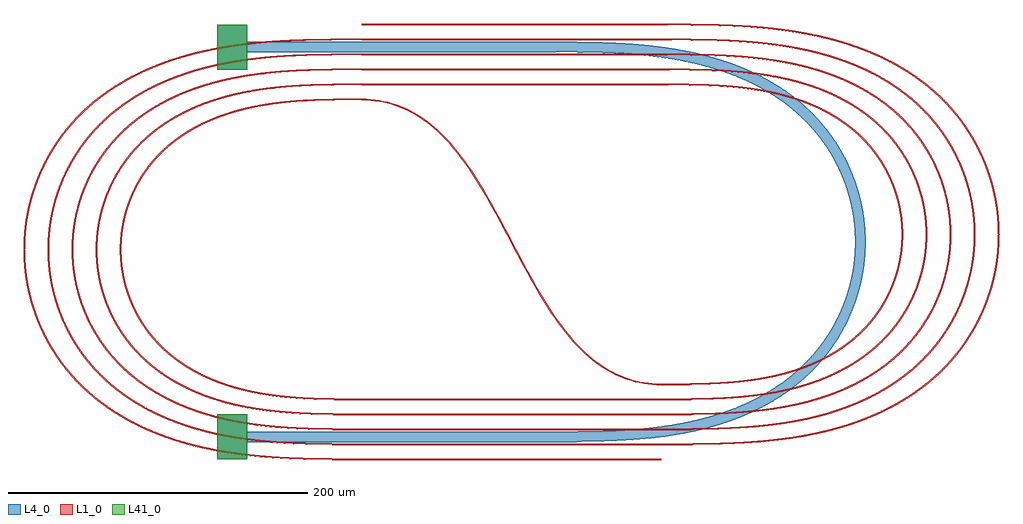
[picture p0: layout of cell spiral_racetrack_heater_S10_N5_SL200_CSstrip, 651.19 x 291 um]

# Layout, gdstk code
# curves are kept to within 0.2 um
from math import pi, radians
import gdstk
lib = gdstk.Library(unit=1e-6, precision=1e-09)
def R(c, l, rs):  # rectangles x0, y0, x1, y1
    for r in rs: c.add(gdstk.rectangle(r[:2], r[2:], *l))
def P(c, l, *ps):  # polygons
    for p in ps: c.add(gdstk.Polygon(p, *l))
L1_0 = (1, 0)
L4_0 = (4, 0)
L41_0 = (41, 0)

bend_s_s200_m190_csstrip = lib.new_cell('bend_s_S200_m190_CSstrip_WNone_AMRVFalse')
P(bend_s_s200_m190_csstrip, L1_0, [(200,-190.5),(193.961,-190.264),(191.032,-189.973),(185.348,-189.057),(179.89,-187.711),(177.242,-186.882),(172.103,-184.929),(167.166,-182.595),(160.116,-178.425),(153.464,-173.513),(147.175,-167.926),(141.213,-161.729),(135.544,-154.991),(130.132,-147.776),(123.254,-137.528),(118.305,-129.456),(111.917,-118.301),(90.331,-77.877),(80.836,-61.055),(75.902,-53.008),(70.798,-45.292),(65.492,-37.971),(59.948,-31.111),(56.105,-26.826),(52.131,-22.794),(45.905,-17.263),(39.33,-12.408),(32.373,-8.292),(27.505,-5.991),(24.998,-4.98),(19.831,-3.25),(14.452,-1.923),(8.849,-1.02),(3.011,-0.559),(0,-0.5),(0,0.5),(6.039,0.264),(8.968,-0.027),(14.652,-0.943),(20.11,-2.289),(22.758,-3.118),(27.897,-5.071),(32.834,-7.405),(39.884,-11.575),(46.536,-16.487),(52.825,-22.074),(58.787,-28.271),(64.456,-35.009),(69.868,-42.224),(76.746,-52.472),(81.695,-60.544),(88.083,-71.699),(109.669,-112.123),(119.164,-128.945),(124.098,-136.992),(129.202,-144.708),(134.508,-152.029),(140.052,-158.889),(143.895,-163.174),(147.869,-167.206),(154.095,-172.737),(160.67,-177.592),(167.627,-181.708),(172.495,-184.009),(175.002,-185.02),(180.169,-186.75),(185.548,-188.077),(191.151,-188.98),(196.989,-189.441),(200,-189.5)])

bend_euler_r100_a180_p0p = lib.new_cell('bend_euler_R100_A180_P0p5_WNone_CSstrip_AMRVFalse')
P(bend_euler_r100_a180_p0p, L1_0, [(0,-0.5),(0,0.5),(25.546,0.714),(35.306,1.066),(45.049,1.678),(57.99,3.02),(70.151,4.983),(76.342,6.299),(82.971,7.982),(89.03,9.798),(95.162,11.939),(100.711,14.171),(106.299,16.738),(111.447,19.425),(116.449,22.372),(121.561,25.782),(126.058,29.173),(130.604,33.045),(134.892,37.199),(138.787,41.497),(142.296,45.898),(145.524,50.509),(148.459,55.312),(151.089,60.289),(153.598,65.893),(155.614,71.331),(157.32,77.052),(158.612,82.706),(159.56,88.6),(160.107,94.374),(160.282,99.829),(160.107,105.626),(159.56,111.4),(158.612,117.294),(157.32,122.948),(155.614,128.669),(153.598,134.107),(151.238,139.404),(148.627,144.391),(145.524,149.491),(142.296,154.102),(138.787,158.503),(134.892,162.801),(130.604,166.955),(126.058,170.827),(121.561,174.218),(116.449,177.628),(111.447,180.575),(106.299,183.262),(100.711,185.829),(95.162,188.061),(89.03,190.202),(82.971,192.018),(76.342,193.701),(70.151,195.017),(57.99,196.98),(45.049,198.322),(35.306,198.934),(25.546,199.286),(0,199.5),(0,200.5),(23.855,200.326),(33.467,200.019),(41.872,199.557),(50.264,198.867),(57.779,198.016),(65.264,196.912),(72.029,195.663),(79.244,194.032),(85.885,192.223),(92.276,190.168),(98.243,187.937),(104.564,185.2),(110.115,182.436),(115.511,179.378),(120.727,176.02),(124.642,173.197),(128.02,170.52),(131.531,167.463),(134.888,164.236),(138.076,160.842),(140.98,157.424),(143.61,154.008),(146.076,150.471),(148.549,146.525),(150.737,142.611),(152.73,138.594),(154.459,134.644),(156.057,130.454),(157.448,126.191),(158.75,121.362),(159.659,117.147),(160.416,112.552),(160.923,108.096),(161.217,103.449),(161.278,99.138),(161.126,94.656),(160.735,90.016),(160.163,85.742),(159.319,81.162),(158.287,76.798),(157.094,72.655),(155.647,68.411),(153.994,64.242),(152.063,60.005),(150.001,56.022),(147.747,52.146),(145.305,48.385),(140.434,41.907),(134.888,35.764),(128.944,30.256),(122.281,25.067),(115.216,20.444),(107.819,16.377),(99.518,12.583),(90.973,9.386),(82.242,6.746),(73.04,4.546),(63.566,2.813),(52.999,1.415),(42.557,0.49),(30.721,-0.128),(18.19,-0.423)])

straight_l200_csstrip_wn = lib.new_cell('straight_L200_CSstrip_WNone_N2')
R(straight_l200_csstrip_wn, L1_0, [(0,-0.5,200,0.5)])

bend_euler_r110_a180_p0p = lib.new_cell('bend_euler_R110_A180_P0p5_WNone_CSstrip_AMRVFalse')
P(bend_euler_r110_a180_p0p, L1_0, [(0,-0.5),(0,0.5),(28.437,0.744),(39.557,1.158),(49.293,1.775),(63.418,3.223),(70.695,4.281),(77.093,5.416),(83.949,6.871),(91.237,8.72),(97.948,10.73),(104.881,13.156),(111.056,15.652),(117.103,18.442),(122.55,21.287),(128.138,24.578),(133.536,28.171),(138.716,32.068),(143.777,36.384),(148.193,40.653),(152.344,45.193),(156.413,50.254),(160.142,55.569),(163.433,60.968),(166.374,66.565),(168.953,72.338),(171.269,78.587),(173.074,84.646),(174.491,90.808),(175.491,96.878),(176.137,103.339),(176.36,109.658),(176.17,116.149),(175.579,122.444),(174.524,129.024),(173.161,135.023),(171.269,141.413),(169.146,147.187),(166.67,152.819),(163.601,158.734),(160.422,164.001),(156.72,169.335),(152.788,174.287),(148.431,179.101),(144.029,183.386),(139.248,187.504),(133.814,191.632),(128.283,195.331),(122.55,198.713),(117.103,201.558),(111.056,204.348),(104.881,206.844),(97.948,209.27),(91.237,211.28),(83.949,213.129),(77.093,214.584),(70.695,215.719),(63.418,216.777),(49.293,218.225),(39.557,218.842),(28.437,219.256),(0,219.5),(0,220.5),(26.405,220.305),(36.693,219.976),(45.604,219.493),(54.673,218.763),(62.865,217.856),(71.194,216.651),(78.8,215.266),(86.682,213.504),(94.149,211.489),(101.354,209.184),(107.959,206.72),(114.906,203.718),(120.916,200.735),(126.761,197.439),(132.274,193.92),(136.066,191.233),(140.278,187.955),(144.195,184.587),(147.696,181.271),(151.274,177.529),(154.436,173.874),(157.419,170.071),(160.408,165.842),(163.175,161.465),(165.469,157.408),(167.573,153.249),(169.615,148.679),(171.485,143.85),(173.004,139.262),(174.3,134.606),(175.439,129.554),(176.265,124.792),(176.879,119.824),(177.244,114.832),(177.36,109.655),(177.227,104.823),(176.862,100.004),(176.214,94.866),(175.371,90.107),(174.3,85.394),(173.004,80.738),(171.485,76.15),(169.615,71.321),(167.573,66.751),(165.141,61.984),(162.729,57.796),(160.119,53.728),(157.419,49.929),(154.655,46.393),(148.789,39.832),(142.257,33.705),(134.954,27.955),(127.35,22.917),(118.776,18.159),(109.87,14.062),(100.378,10.482),(90.841,7.574),(80.819,5.152),(70.177,3.185),(58.602,1.64),(46.632,0.577),(33.95,-0.085),(19.716,-0.419)])

bend_euler_r120_a180_p0p = lib.new_cell('bend_euler_R120_A180_P0p5_WNone_CSstrip_AMRVFalse')
P(bend_euler_r120_a180_p0p, L1_0, [(0,-0.5),(0,0.5),(30.502,0.753),(42.483,1.185),(52.567,1.799),(60.753,2.508),(68.745,3.414),(76.874,4.584),(84.285,5.898),(92.478,7.659),(99.93,9.576),(107.131,11.748),(114.389,14.293),(120.887,16.911),(127.717,20.052),(133.773,23.216),(139.805,26.77),(146.052,30.943),(151.498,35.062),(156.82,39.605),(161.848,44.472),(166.667,49.786),(170.818,54.995),(174.736,60.592),(178.378,66.573),(181.627,72.777),(184.533,79.335),(186.892,85.747),(188.843,92.295),(190.411,99.119),(191.514,105.862),(192.19,112.66),(192.438,119.658),(192.234,126.658),(191.558,133.8),(190.444,140.713),(188.972,147.21),(186.999,153.929),(184.533,160.665),(181.775,166.915),(178.546,173.129),(175.108,178.835),(171.124,184.594),(166.667,190.214),(161.967,195.405),(157.072,200.165),(151.764,204.724),(146.052,209.057),(139.95,213.139),(133.773,216.784),(127.717,219.948),(120.887,223.089),(114.389,225.707),(107.131,228.252),(99.93,230.424),(92.478,232.341),(84.285,234.102),(76.874,235.416),(68.745,236.586),(60.753,237.492),(52.567,238.201),(42.483,238.815),(30.502,239.247),(0,239.5),(0,240.5),(28.812,240.287),(39.96,239.931),(50.072,239.38),(59.655,238.604),(68.872,237.578),(77.541,236.321),(86.33,234.715),(94.879,232.788),(102.677,230.677),(110.537,228.163),(118.106,225.33),(125.52,222.109),(132.292,218.728),(138.871,214.981),(144.94,211.056),(149.682,207.626),(153.723,204.411),(157.874,200.787),(161.843,196.963),(165.619,192.942),(169.079,188.87),(172.235,184.772),(175.384,180.243),(178.213,175.71),(180.818,171.044),(183.265,166.1),(185.46,161.039),(187.284,156.2),(189.024,150.784),(190.4,145.621),(191.523,140.396),(192.413,134.952),(192.998,129.814),(193.354,124.309),(193.434,118.966),(193.243,113.453),(192.812,108.299),(192.111,103.001),(191.083,97.406),(189.81,92.039),(188.32,86.907),(186.521,81.692),(184.599,76.891),(182.301,71.877),(179.837,67.135),(177.144,62.519),(174.23,58.04),(171.516,54.258),(168.425,50.329),(165.158,46.545),(161.843,43.037),(158.254,39.563),(154.646,36.365),(150.909,33.32),(146.912,30.329),(142.798,27.503),(138.429,24.752),(129.39,19.768),(124.427,17.386),(119.221,15.125),(109.073,11.337),(98.375,8.114),(87.508,5.528),(75.845,3.409),(63.755,1.816),(50.586,0.655),(36.873,-0.053),(21.951,-0.406)])

bend_euler_r130_a180_p0p = lib.new_cell('bend_euler_R130_A180_P0p5_WNone_CSstrip_AMRVFalse')
P(bend_euler_r130_a180_p0p, L1_0, [(0,-0.5),(0,0.5),(19.03,0.552),(32.91,0.771),(45.922,1.237),(56.864,1.901),(66.246,2.718),(74.751,3.692),(83.559,4.969),(91.309,6.347),(100.009,8.213),(107.963,10.249),(115.826,12.608),(123.736,15.37),(130.875,18.238),(138.024,21.512),(144.846,25.061),(151.472,28.962),(158.011,33.32),(164.013,37.843),(169.989,42.941),(175.503,48.291),(180.546,53.859),(185.019,59.463),(189.33,65.615),(193.323,72.178),(196.731,78.681),(199.791,85.541),(202.461,92.745),(204.655,100.108),(206.364,107.598),(207.58,115.184),(208.277,122.492),(208.517,130),(208.277,137.508),(207.58,144.816),(206.364,152.402),(204.655,159.892),(202.461,167.255),(199.791,174.459),(196.731,181.319),(193.323,187.822),(189.33,194.385),(185.019,200.537),(180.546,206.141),(175.503,211.709),(169.989,217.059),(164.013,222.157),(158.011,226.68),(151.472,231.038),(144.846,234.939),(138.024,238.488),(130.875,241.762),(123.736,244.63),(115.826,247.392),(107.963,249.751),(100.009,251.787),(91.309,253.653),(83.559,255.031),(74.751,256.308),(66.246,257.282),(56.864,258.099),(45.922,258.763),(32.91,259.229),(19.03,259.448),(0,259.5),(0,260.5),(31.219,260.269),(43.398,259.879),(54.369,259.278),(65.663,258.345),(75.56,257.211),(85.075,255.795),(93.691,254.198),(102.577,252.196),(111.371,249.816),(119.883,247.086),(127.934,244.068),(135.667,240.718),(143.061,237.044),(149.802,233.235),(156.754,228.775),(161.784,225.157),(166.373,221.524),(170.662,217.799),(175.017,213.633),(179.041,209.381),(182.959,204.802),(186.333,200.446),(189.788,195.508),(192.899,190.549),(195.763,185.442),(198.516,179.888),(200.846,174.518),(202.909,169.038),(204.65,163.629),(206.211,157.809),(207.443,152.085),(208.414,146.137),(209.052,140.491),(209.419,134.82),(209.509,128.622),(209.307,122.944),(208.833,117.281),(208.062,111.478),(206.97,105.551),(205.666,100.02),(204.047,94.394),(202.212,89.016),(199.919,83.257),(197.48,77.935),(194.864,72.89),(191.92,67.83),(188.632,62.78),(185.405,58.313),(182.304,54.399),(178.81,50.363),(175.259,46.611),(171.423,42.9),(167.559,39.472),(163.558,36.207),(159.15,32.904),(154.61,29.787),(149.802,26.765),(145.029,24.02),(140.004,21.377),(134.573,18.779),(129.208,16.452),(124.088,14.434),(117.93,12.248),(106.074,8.7),(94.028,5.871),(82.022,3.713),(68.226,1.918),(54.882,0.757),(39.968,-0.015),(23.327,-0.404)])

bend_euler_r140_a180_p0p = lib.new_cell('bend_euler_R140_A180_P0p5_WNone_CSstrip_AMRVFalse')
P(bend_euler_r140_a180_p0p, L1_0, [(0,-0.5),(0,0.5),(19.875,0.551),(35.287,0.788),(49.148,1.279),(61.109,1.999),(70.828,2.837),(80.179,3.896),(88.986,5.152),(98.419,6.813),(107.782,8.824),(116.559,11.079),(124.744,13.54),(133.455,16.587),(141.221,19.719),(149.134,23.366),(156.248,27.089),(163.161,31.168),(170.264,35.906),(177.203,41.166),(183.288,46.395),(189.041,51.99),(194.547,58.075),(199.341,64.093),(203.854,70.532),(208.129,77.537),(211.941,84.804),(215.21,92.144),(217.953,99.514),(220.322,107.371),(222.177,115.365),(223.511,123.461),(224.318,131.628),(224.595,139.829),(224.351,147.86),(223.577,156.03),(222.276,164.132),(220.453,172.133),(218.116,179.999),(215.403,187.381),(212.163,194.734),(208.381,202.016),(204.228,208.895),(199.749,215.359),(194.547,221.925),(189.041,228.01),(183.288,233.605),(177.203,238.834),(170.264,244.094),(163.161,248.832),(156.248,252.911),(149.134,256.634),(141.221,260.281),(133.455,263.413),(124.744,266.46),(116.559,268.921),(107.782,271.176),(98.419,273.187),(88.986,274.848),(80.179,276.104),(70.828,277.163),(61.109,278.001),(49.148,278.721),(35.287,279.212),(19.875,279.449),(0,279.5),(0,280.5),(33.769,280.248),(46.625,279.836),(58.101,279.214),(69.56,278.291),(80.305,277.096),(90.498,275.618),(100.463,273.801),(110.182,271.626),(119.47,269.13),(128.474,266.27),(137.332,262.979),(145.385,259.524),(153.558,255.503),(161.052,251.295),(168.443,246.578),(173.761,242.781),(178.499,239.069),(183.453,234.806),(188.069,230.424),(192.585,225.683),(196.525,221.116),(200.348,216.23),(203.929,211.165),(207.348,205.784),(210.414,200.39),(213.288,194.699),(215.94,188.712),(218.224,182.759),(220.208,176.7),(221.846,170.717),(223.158,164.83),(224.216,158.717),(224.976,152.56),(225.436,146.374),(225.595,139.828),(225.436,133.626),(224.959,127.268),(224.165,120.942),(223.022,114.494),(221.636,108.448),(219.856,102.146),(217.755,95.944),(215.474,90.175),(212.766,84.213),(210.004,78.852),(206.902,73.479),(203.446,68.121),(199.935,63.218),(196.525,58.884),(192.816,54.573),(188.919,50.432),(184.847,46.473),(180.479,42.585),(175.947,38.891),(171.543,35.591),(166.442,32.084),(161.642,29.06),(156.433,26.048),(150.961,23.159),(145.073,20.333),(139.242,17.798),(133.326,15.47),(127.173,13.288),(114.839,9.571),(102.312,6.581),(88.463,4.058),(73.658,2.124),(59.471,0.879),(43.197,0.028),(25.711,-0.389)])

spiral_racetrack_gdsfact = lib.new_cell('spiral_racetrack_gdsfactorypcomponentspspiralspspiral_h_045816c0')
spiral_racetrack_gdsfact.add(gdstk.Reference(bend_s_s200_m190_csstrip, (0,0)))
spiral_racetrack_gdsfact.add(gdstk.Reference(bend_euler_r100_a180_p0p, (0,0), rotation=pi))
spiral_racetrack_gdsfact.add(gdstk.Reference(straight_l200_csstrip_wn, (0,-200)))
spiral_racetrack_gdsfact.add(gdstk.Reference(bend_euler_r110_a180_p0p, (200,-200)))
spiral_racetrack_gdsfact.add(gdstk.Reference(straight_l200_csstrip_wn, (200,20), rotation=pi))
spiral_racetrack_gdsfact.add(gdstk.Reference(bend_euler_r120_a180_p0p, (0,20), rotation=pi))
spiral_racetrack_gdsfact.add(gdstk.Reference(straight_l200_csstrip_wn, (0,-220)))
spiral_racetrack_gdsfact.add(gdstk.Reference(bend_euler_r130_a180_p0p, (200,-220)))
spiral_racetrack_gdsfact.add(gdstk.Reference(straight_l200_csstrip_wn, (200,40), rotation=pi))
spiral_racetrack_gdsfact.add(gdstk.Reference(bend_euler_r140_a180_p0p, (0,40), rotation=pi))
spiral_racetrack_gdsfact.add(gdstk.Reference(straight_l200_csstrip_wn, (0,-240)))
spiral_racetrack_gdsfact.add(gdstk.Reference(bend_euler_r100_a180_p0p, (200,-190)))
spiral_racetrack_gdsfact.add(gdstk.Reference(straight_l200_csstrip_wn, (200,10), rotation=pi))
spiral_racetrack_gdsfact.add(gdstk.Reference(bend_euler_r110_a180_p0p, (0,10), rotation=pi))
spiral_racetrack_gdsfact.add(gdstk.Reference(straight_l200_csstrip_wn, (0,-210)))
spiral_racetrack_gdsfact.add(gdstk.Reference(bend_euler_r120_a180_p0p, (200,-210)))
spiral_racetrack_gdsfact.add(gdstk.Reference(straight_l200_csstrip_wn, (200,30), rotation=pi))
spiral_racetrack_gdsfact.add(gdstk.Reference(bend_euler_r130_a180_p0p, (0,30), rotation=pi))
spiral_racetrack_gdsfact.add(gdstk.Reference(straight_l200_csstrip_wn, (0,-230)))
spiral_racetrack_gdsfact.add(gdstk.Reference(bend_euler_r140_a180_p0p, (200,-230)))
spiral_racetrack_gdsfact.add(gdstk.Reference(straight_l200_csstrip_wn, (200,50), rotation=pi))

straight_gdsfactorypcomp = lib.new_cell('straight_gdsfactorypcomponentspwaveguidespstraight_L200_9721b102')
R(straight_gdsfactorypcomp, L4_0, [(0,-3.5,200,3.5)])

c_bend_euler_r130_a180_p0p = lib.new_cell('bend_euler_R130_A180_P0p5_WNone_CSheater_metal_AMRVFalse')
P(c_bend_euler_r130_a180_p0p, L4_0, [(0,-3.5),(0,3.5),(33.859,3.796),(58.167,5.009),(69.319,6.061),(80.405,7.512),(90.737,9.292),(100.142,11.328),(114.582,15.359),(127.837,20.213),(139.999,25.866),(151.573,32.582),(157.765,36.84),(163.819,41.554),(169.194,46.289),(174.15,51.217),(179.009,56.692),(183.509,62.466),(187.452,68.235),(191.117,74.379),(194.463,80.89),(197.325,87.447),(199.876,94.485),(201.921,101.514),(203.45,108.333),(204.604,115.562),(205.283,122.683),(205.517,130),(205.283,137.317),(204.604,144.438),(203.45,151.667),(201.921,158.486),(199.876,165.515),(197.325,172.553),(194.463,179.11),(191.117,185.621),(187.452,191.765),(183.509,197.534),(179.009,203.308),(174.15,208.783),(169.194,213.711),(163.819,218.446),(157.765,223.16),(151.573,227.418),(139.999,234.134),(127.837,239.787),(114.582,244.641),(100.142,248.672),(90.737,250.708),(80.405,252.488),(69.319,253.939),(58.167,254.991),(33.859,256.204),(0,256.5),(0,263.5),(30.941,263.276),(54.053,262.306),(74.573,260.363),(93.268,257.344),(102.45,255.316),(111.55,252.89),(127.756,247.369),(135.656,244.024),(143.07,240.427),(150.29,236.435),(156.991,232.235),(166.787,225.06),(176.017,216.868),(184.164,208.056),(191.403,198.483),(197.663,188.244),(202.884,177.438),(207.014,166.169),(209.941,154.895),(211.853,142.689),(212.515,130.706),(211.976,118.54),(210.324,107.009),(207.527,95.52),(203.494,84.029),(198.415,73.156),(192.289,62.836),(185.731,53.856),(178.747,45.894),(170.971,38.455),(162.464,31.606),(152.997,25.2),(143.07,19.573),(132.129,14.424),(120.538,9.966),(108.864,6.348),(96.677,3.363),(83.512,0.91),(69.923,-0.915),(55.779,-2.188),(40.595,-2.994)])

compass_gdsfactorypcompo = lib.new_cell('compass_gdsfactorypcomponentspshapespcompass_S20_30_LHE_0a05a8ea')
R(compass_gdsfactorypcompo, L4_0, [(-10,-15,10,15)])

c_compass_gdsfactorypcompo = lib.new_cell('compass_gdsfactorypcomponentspshapespcompass_S20_30_LPA_c746d2ee')
R(c_compass_gdsfactorypcompo, L41_0, [(-10,-15,10,15)])

via_stack_heater_mtop_s2 = lib.new_cell('via_stack_heater_mtop_S20_30')
via_stack_heater_mtop_s2.add(gdstk.Reference(compass_gdsfactorypcompo, (0,0)))
via_stack_heater_mtop_s2.add(gdstk.Reference(c_compass_gdsfactorypcompo, (0,0)))

spiral_racetrack_heater_ = lib.new_cell('spiral_racetrack_heater_S10_N5_SL200_CSstrip')
spiral_racetrack_heater_.add(gdstk.Reference(spiral_racetrack_gdsfact, (0,0)))
spiral_racetrack_heater_.add(gdstk.Reference(straight_gdsfactorypcomp, (123.742,-225), rotation=pi))
spiral_racetrack_heater_.add(gdstk.Reference(straight_gdsfactorypcomp, (123.742,35), rotation=pi))
spiral_racetrack_heater_.add(gdstk.Reference(c_bend_euler_r130_a180_p0p, (123.742,-225)))
spiral_racetrack_heater_.add(gdstk.Reference(via_stack_heater_mtop_s2, (-86.258,35)))
spiral_racetrack_heater_.add(gdstk.Reference(via_stack_heater_mtop_s2, (-86.258,-225)))

lib.write_gds('spiral_racetrack_heater_S10_N5_SL200_CSstrip.gds')
